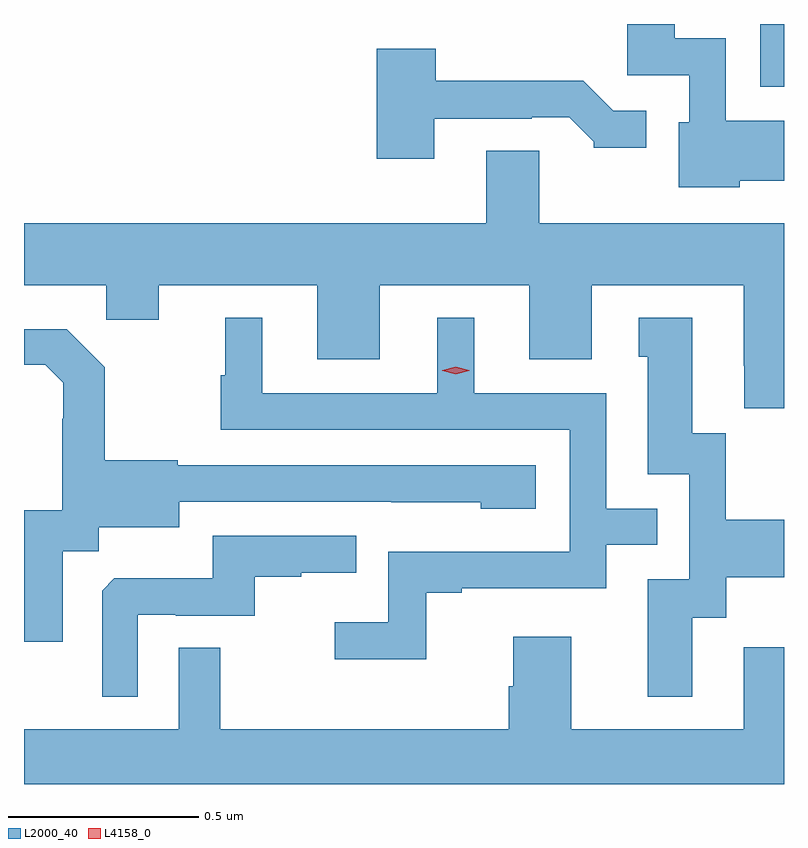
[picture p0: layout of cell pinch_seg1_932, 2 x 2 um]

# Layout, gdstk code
import gdstk
lib = gdstk.Library(unit=1e-6, precision=1e-09)
def R(c, l, rs):  # rectangles x0, y0, x1, y1
    for r in rs: c.add(gdstk.rectangle(r[:2], r[2:], *l))
def P(c, l, *ps):  # polygons
    for p in ps: c.add(gdstk.Polygon(p, *l))
L2000_40 = (2000, 40)
L4158_0 = (4158, 0)

pinch_seg1_932 = lib.new_cell('pinch_seg1_932')
R(pinch_seg1_932, L2000_40, [(571.302,536.271,571.365,536.436)])
P(pinch_seg1_932, L2000_40, [(571.248,536.024),(571.365,536.024),(571.365,536.182),(571.212,536.182),(571.212,536.398),(571.078,536.398),(571.078,536.436),(570.953,536.436),(570.953,536.301),(571.116,536.301),(571.116,536.178),(571.088,536.178),(571.088,536.006),(571.248,536.006)],
  [(570.445,536.187),(570.701,536.187),(570.701,536.19),(570.8,536.19),(570.864,536.126),(570.864,536.111),(571.003,536.111),(571.003,536.208),(570.915,536.208),(570.837,536.287),(570.448,536.287),(570.448,536.371),(570.293,536.371),(570.293,536.082),(570.445,536.082)],
  [(571.365,535.912),(570.721,535.912),(570.721,536.102),(570.581,536.102),(570.581,535.912),(569.365,535.912),(569.365,535.748),(569.581,535.748),(569.581,535.658),(569.719,535.658),(569.719,535.748),(570.137,535.748),(570.137,535.554),(570.301,535.554),(570.301,535.748),(570.695,535.748),(570.695,535.554),(570.859,535.554),(570.859,535.748),(571.259,535.748),(571.259,535.537),(571.26,535.537),(571.26,535.425),(571.365,535.425)],
  [(571.123,534.874),(571.213,534.874),(571.213,534.98),(571.365,534.98),(571.365,535.132),(571.212,535.132),(571.212,535.359),(571.123,535.359),(571.123,535.663),(570.983,535.663),(570.983,535.56),(571.007,535.56),(571.007,535.251),(571.116,535.251),(571.116,534.975),(571.007,534.975),(571.007,534.666),(571.123,534.666)],
  [(570.423,534.939),(570.517,534.939),(570.517,534.951),(570.897,534.951),(570.897,535.065),(571.031,535.065),(571.031,535.161),(570.897,535.161),(570.897,535.464),(570.55,535.464),(570.55,535.663),(570.452,535.663),(570.452,535.464),(569.992,535.464),(569.992,535.663),(569.894,535.663),(569.894,535.512),(569.883,535.512),(569.883,535.368),(570.801,535.368),(570.801,535.047),(570.324,535.047),(570.324,534.862),(570.183,534.862),(570.183,534.764),(570.423,534.764)],
  [(569.467,535.048),(569.562,535.048),(569.562,535.112),(569.773,535.112),(569.773,535.179),(570.331,535.179),(570.331,535.178),(570.567,535.178),(570.567,535.16),(570.712,535.16),(570.712,535.275),(569.769,535.275),(569.769,535.288),(569.577,535.288),(569.577,535.533),(569.477,535.633),(569.365,535.633),(569.365,535.539),(569.421,535.539),(569.468,535.492),(569.468,535.397),(569.466,535.397),(569.466,535.156),(569.365,535.156),(569.365,534.81),(569.467,534.81)],
  [(569.664,534.882),(569.764,534.882),(569.764,534.879),(569.972,534.879),(569.972,534.981),(570.095,534.981),(570.095,534.992),(570.239,534.992),(570.239,535.089),(569.862,535.089),(569.862,534.977),(569.603,534.977),(569.571,534.945),(569.571,534.665),(569.664,534.665)],
  [(571.365,534.796),(571.259,534.796),(571.259,534.58),(570.805,534.58),(570.805,534.823),(570.653,534.823),(570.653,534.693),(570.641,534.693),(570.641,534.58),(569.881,534.58),(569.881,534.794),(569.772,534.794),(569.772,534.58),(569.365,534.58),(569.365,534.436),(571.365,534.436)])
P(pinch_seg1_932, L4158_0, [(570.501,535.514),(570.465,535.524),(570.465,535.524),(570.465,535.525),(570.501,535.534),(570.537,535.525),(570.537,535.524),(570.537,535.524)])

lib.write_gds('pinch_seg1_932.gds')
